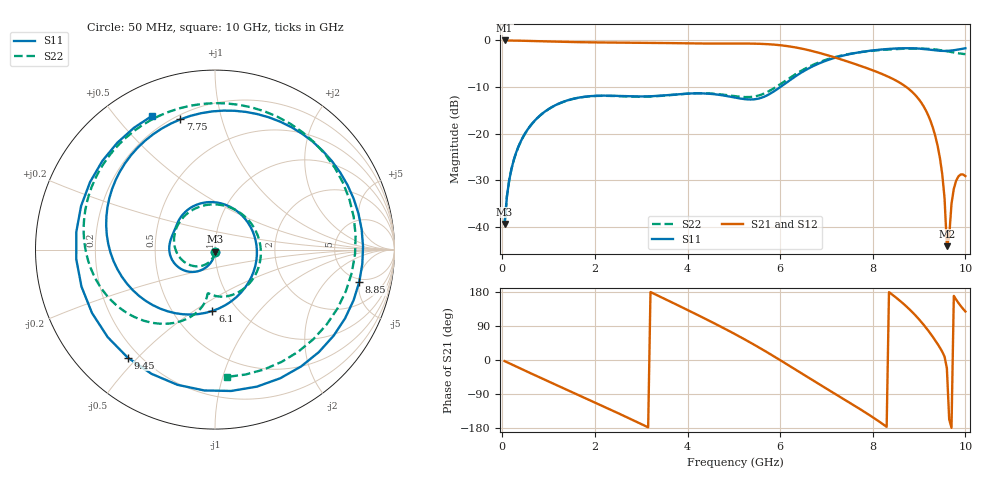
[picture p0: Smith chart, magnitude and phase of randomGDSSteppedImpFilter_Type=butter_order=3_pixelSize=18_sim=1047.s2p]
! freq	dB(S11)	phase(S11)	dB(S12)	phase(S12)
!  dB(S21)	phase(S21)	dB(S22)	phase(S22)
!S-par simulation data
#  GHz  S  DB  R 50
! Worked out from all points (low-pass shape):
!   200 points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, 50 MHz to 10 GHz, reference 50 ohm
!   highest |S21| = -0.01 dB at 50 MHz (marker M1); lowest = -44.2 dB at 9.6 GHz (marker M2)
!   |S21| within 3 dB of the highest: start of sweep to 6.962 GHz
!   lowest |S11| = -39.4 dB at 50 MHz (marker M3), VSWR 1.02, Z = 50 - j1.07 ohm
!   |S11| at or under -10 dB: start of sweep to 6.004 GHz
!   |S22| runs from -39.4 to -1.7 dB; largest |S21 - S12| = 0
!   S11 on the Smith chart (normalised r, x): 50 MHz: 1.00, -0.02; 6.1 GHz: 0.77, -0.60; 7.75 GHz: 0.22, +0.74; 8.85 GHz: 4.54, -5.08; 9.45 GHz: 0.16, -0.47; 10 GHz: 0.14, +0.63
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0.05  -39.43 -91.3  -0.01 -2.9  -0.01 -2.9  -39.44 -92.2
0.2  -27.53 -99.6  -0.03 -11.5  -0.03 -11.5  -27.53 -103.3
0.5  -19.85 -114.5  -0.08 -28.6  -0.08 -28.6  -19.88 -123.7
1.15  -13.89 -143.9  -0.26 -65.1  -0.26 -65.1  -13.92 -167.5
1.75  -12.13 -168.0  -0.39 -98.3  -0.39 -98.3  -12.16 150.1
2.65  -11.98 164.8  -0.47 -148.8  -0.47 -148.8  -12.03 76.5
3.4  -11.88 147.2  -0.54 167.6  -0.54 167.6  -11.94 7.3
4.3  -11.38 110.2  -0.66 113.9  -0.66 113.9  -11.34 -62.1
5.05  -12.33 50.1  -0.66 66.7  -0.66 66.7  -12.02 -95.2
5.65  -12.12 -30.0  -0.76 25.4  -0.76 25.4  -11.42 -99.8
6.1  -9.31 -92.4  -1.15 -7.8  -1.15 -7.8  -8.74 -106.3
6.7  -5.58 -158.9  -2.30 -53.1  -2.30 -53.1  -5.29 -131.9
7.2  -3.67 153.9  -3.72 -90.4  -3.72 -90.4  -3.54 -160.0
7.75  -2.49 104.8  -5.52 -131.5  -5.52 -131.5  -2.50 166.3
8.35  -1.82 47.9  -7.87 179.1  -7.87 179.1  -1.94 124.5
8.85  -1.68 -12.6  -11.06 126.8  -11.06 126.8  -1.75 80.7
9.2  -1.96 -73.0  -16.16 77.2  -16.16 77.2  -1.81 40.8
9.45  -2.23 -128.9  -25.26 32.5  -25.26 32.5  -2.07 5.9
9.55  -2.26 -152.7  -33.91 8.9  -33.91 8.9  -2.24 -9.6
9.6  -2.25 -164.5  -44.21 -21.5  -44.21 -21.5  -2.32 -17.6
9.75  -2.11 161.9  -31.89 169.2  -31.89 169.2  -2.60 -42.3
10  -1.69 115.2  -29.15 128.0  -29.15 128.0  -2.94 -84.8
